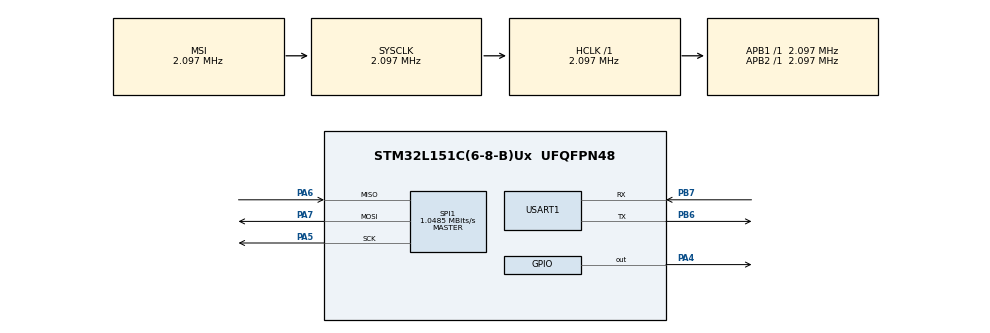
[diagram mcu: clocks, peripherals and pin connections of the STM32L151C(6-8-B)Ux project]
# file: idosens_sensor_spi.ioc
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Mcu.Family=STM32L1
Mcu.Name=STM32L151C(6-8-B)Ux
Mcu.Package=UFQFPN48
NVIC.PriorityGroup=NVIC_PRIORITYGROUP_4
PA4.PinState=GPIO_PIN_SET
PA4.Signal=GPIO_Output
PA5.Mode=Full_Duplex_Master
PA5.Signal=SPI1_SCK
PA6.Mode=Full_Duplex_Master
PA6.Signal=SPI1_MISO
PA7.Mode=Full_Duplex_Master
PA7.Signal=SPI1_MOSI
PB6.Mode=Asynchronous
PB6.Signal=USART1_TX
PB7.Mode=Asynchronous
PB7.Signal=USART1_RX
ProjectManager.HeapSize=0x200
ProjectManager.StackSize=0x400
ProjectManager.TargetToolchain=STM32CubeIDE
RCC.AHBFreq_Value=2097000
RCC.APB1Freq_Value=2097000
RCC.APB2Freq_Value=2097000
RCC.HSE_VALUE=24000000
RCC.HSI_VALUE=16000000
RCC.LSE_VALUE=32768
RCC.MSI_VALUE=2097000
RCC.SYSCLKFreq_VALUE=2097000
RCC.VCOOutputFreq_Value=48000000
SPI1.CalculateBaudRate=1.0485 MBits/s
SPI1.Direction=SPI_DIRECTION_2LINES
SPI1.Mode=SPI_MODE_MASTER
SPI1.VirtualType=VM_MASTER
USART1.VirtualMode=VM_ASYNC
board=custom

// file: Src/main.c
/* USER CODE BEGIN Header */
/**
  ******************************************************************************
  * @file           : main.c
  * @brief          : Main program body
  ******************************************************************************
  * @attention
  *
  * <h2><center>&copy; Copyright (c) 2019 STMicroelectronics.
  * All rights reserved.</center></h2>
  *
  * This software component is licensed by ST under BSD 3-Clause license,
  * the "License"; You may not use this file except in compliance with the
  * License. You may obtain a copy of the License at:
  *                        opensource.org/licenses/BSD-3-Clause
  *
  ******************************************************************************
  */
/* USER CODE END Header */

#include "main.h"
#include <stdio.h>

SPI_HandleTypeDef hspi1;

UART_HandleTypeDef huart1;

void SystemClock_Config(void);
static void MX_GPIO_Init(void);
static void MX_SPI1_Init(void);
static void MX_USART1_UART_Init(void);

int main(void)
{

  /* MCU Configuration--------------------------------------------------------*/

  /* Reset of all peripherals, Initializes the Flash interface and the Systick. */
  HAL_Init();

  /* Configure the system clock */
  SystemClock_Config();

  /* Initialize all configured peripherals */
  MX_GPIO_Init();
  MX_SPI1_Init();
  MX_USART1_UART_Init();

  /* Infinite loop */

  while (1)
  {

	  /* USER CODE BEGIN WHILE */
	  	    uint8_t acc[10]={0,0,0,0,0,0,0,0,0,0};
	        uint8_t octet_read=0;
	        uint8_t data[3];
	  	  	uint8_t data_fifo[2];

	  	    uint8_t fifo_ctrl = 0x2e;//0b101110
	  	    data_fifo[0]=0b01101110; //écrit 1 octet

	  	   	 data_fifo[1]=0;
	  	   	//Configure FIFO, bypass mode p41
			HAL_GPIO_WritePin(GPIOA,GPIO_PIN_4, GPIO_PIN_RESET);
			HAL_SPI_Transmit(&hspi1,data_fifo, 2, HAL_MAX_DELAY);
			HAL_GPIO_WritePin(GPIOA,GPIO_PIN_4, GPIO_PIN_SET);

			data_fifo[1]=64; //(64)10 = stream, (32)10 fifo

			HAL_GPIO_WritePin(GPIOA,GPIO_PIN_4, GPIO_PIN_RESET);
			HAL_SPI_Transmit(&hspi1,data_fifo, 2, HAL_MAX_DELAY);
			HAL_GPIO_WritePin(GPIOA,GPIO_PIN_4, GPIO_PIN_SET);

			//Ecrire (0)10 puis (64)10 dans CTRL0 ; 0b00011111, 0x1f
			uint8_t data_ctrl0[2];
			data_ctrl0[0]=0b01011111;
			data_ctrl0[1]=0;

			HAL_GPIO_WritePin(GPIOA,GPIO_PIN_4, GPIO_PIN_RESET);
			HAL_SPI_Transmit(&hspi1,data_ctrl0, 2, HAL_MAX_DELAY);
			HAL_GPIO_WritePin(GPIOA,GPIO_PIN_4, GPIO_PIN_SET);

			/*
			data_ctrl0[1]=64;

			HAL_GPIO_WritePin(GPIOA,GPIO_PIN_4, GPIO_PIN_RESET);
			HAL_SPI_Transmit(&hspi1,data_ctrl0, 2, HAL_MAX_DELAY);
			HAL_GPIO_WritePin(GPIOA,GPIO_PIN_4, GPIO_PIN_SET);
			*/

			//Config ctrl1 0x20 : Acceleration data-rate 3.125Hz (23)10

			uint8_t tab1[2];
			tab1[0]=0b0100000;
			tab1[1]=23;
			HAL_GPIO_WritePin(GPIOA,GPIO_PIN_4, GPIO_PIN_RESET);
			HAL_SPI_Transmit(&hspi1,tab1, 2, HAL_MAX_DELAY);
			HAL_GPIO_WritePin(GPIOA,GPIO_PIN_4, GPIO_PIN_SET);

			 //Lire 0x20 : 0b00100000
			octet_read=0b10100000;
			HAL_GPIO_WritePin(GPIOA,GPIO_PIN_4, GPIO_PIN_RESET);
			HAL_SPI_Transmit(&hspi1,&octet_read, 1, HAL_MAX_DELAY);
			HAL_SPI_Receive(&hspi1, data, 1, HAL_MAX_DELAY);
			HAL_GPIO_WritePin(GPIOA,GPIO_PIN_4, GPIO_PIN_SET);

			//Lire OUT_X_L_A (28h)
			octet_read=0b10101000;
			HAL_GPIO_WritePin(GPIOA,GPIO_PIN_4, GPIO_PIN_RESET);
			HAL_SPI_Transmit(&hspi1,&octet_read, 1, HAL_MAX_DELAY);
			HAL_SPI_Receive(&hspi1, data, 1, HAL_MAX_DELAY);
			HAL_GPIO_WritePin(GPIOA,GPIO_PIN_4, GPIO_PIN_SET);
			acc[0]=data[0];

			//Lire OUT_X_H_A (29h)
			octet_read=0b10101001;
			HAL_GPIO_WritePin(GPIOA,GPIO_PIN_4, GPIO_PIN_RESET);
			HAL_SPI_Transmit(&hspi1,&octet_read, 1, HAL_MAX_DELAY);
			HAL_SPI_Receive(&hspi1, data, 1, HAL_MAX_DELAY);
			HAL_GPIO_WritePin(GPIOA,GPIO_PIN_4, GPIO_PIN_SET);

			acc[1]=data[0];

			//Lire OUT_Y_L_A (2ah),
			octet_read=0b10101010;
			HAL_GPIO_WritePin(GPIOA,GPIO_PIN_4, GPIO_PIN_RESET);
			HAL_SPI_Transmit(&hspi1,&octet_read, 2, HAL_MAX_DELAY);
			HAL_SPI_Receive(&hspi1, data, 1, HAL_MAX_DELAY);
			HAL_GPIO_WritePin(GPIOA,GPIO_PIN_4, GPIO_PIN_SET);

			acc[2]=data[0];

			//Lire OUT_Y_H_A (2bh),
			octet_read=0b10101011;
			HAL_GPIO_WritePin(GPIOA,GPIO_PIN_4, GPIO_PIN_RESET);
			HAL_SPI_Transmit(&hspi1,&octet_read, 2, HAL_MAX_DELAY);
			HAL_SPI_Receive(&hspi1, data, 1, HAL_MAX_DELAY);
			HAL_GPIO_WritePin(GPIOA,GPIO_PIN_4, GPIO_PIN_SET);

			acc[3]=data[0];

			//Lire OUT_Z_H_A (2Ch)
			octet_read=0b10101100;
			HAL_GPIO_WritePin(GPIOA,GPIO_PIN_4, GPIO_PIN_RESET);
			HAL_SPI_Transmit(&hspi1,&octet_read, 2, HAL_MAX_DELAY);
			HAL_SPI_Receive(&hspi1, data, 1, HAL_MAX_DELAY);
			HAL_GPIO_WritePin(GPIOA,GPIO_PIN_4, GPIO_PIN_SET);
			acc[4]=data[0];

			//Lire OUT_Z_L_A (2dh)
			octet_read=0b10101101;
			HAL_GPIO_WritePin(GPIOA,GPIO_PIN_4, GPIO_PIN_RESET);
			HAL_SPI_Transmit(&hspi1,&octet_read, 2, HAL_MAX_DELAY);
			HAL_SPI_Receive(&hspi1, data, 1, HAL_MAX_DELAY);
			HAL_GPIO_WritePin(GPIOA,GPIO_PIN_4, GPIO_PIN_SET);
			acc[5]=data[0];

			 uint8_t num =65;
			 uint8_t lettres[20];
			 sprintf(lettres,"XL : %d, XH : %d, YL : %d, YH : %d ZL : %d, ZH : %d \n\r",acc[0],acc[1],acc[2], acc[3], acc[4], acc[5]);
			 uint8_t len = strlen(lettres);
			 HAL_UART_Transmit(&huart1, lettres,len , HAL_MAX_DELAY);

	  		 HAL_Delay(1000);

	  	 /* USER CODE END WHILE */
  }
}

void SystemClock_Config(void)
{
  RCC_OscInitTypeDef RCC_OscInitStruct = {0};
  RCC_ClkInitTypeDef RCC_ClkInitStruct = {0};

  /** Configure the main internal regulator output voltage
  */
  __HAL_PWR_VOLTAGESCALING_CONFIG(PWR_REGULATOR_VOLTAGE_SCALE1);
  /** Initializes the CPU, AHB and APB busses clocks
  */
  RCC_OscInitStruct.OscillatorType = RCC_OSCILLATORTYPE_MSI;
  RCC_OscInitStruct.MSIState = RCC_MSI_ON;
  RCC_OscInitStruct.MSICalibrationValue = 0;
  RCC_OscInitStruct.MSIClockRange = RCC_MSIRANGE_5;
  RCC_OscInitStruct.PLL.PLLState = RCC_PLL_NONE;
  if (HAL_RCC_OscConfig(&RCC_OscInitStruct) != HAL_OK)
  {
    Error_Handler();
  }
  /** Initializes the CPU, AHB and APB busses clocks
  */
  RCC_ClkInitStruct.ClockType = RCC_CLOCKTYPE_HCLK|RCC_CLOCKTYPE_SYSCLK
                              |RCC_CLOCKTYPE_PCLK1|RCC_CLOCKTYPE_PCLK2;
  RCC_ClkInitStruct.SYSCLKSource = RCC_SYSCLKSOURCE_MSI;
  RCC_ClkInitStruct.AHBCLKDivider = RCC_SYSCLK_DIV1;
  RCC_ClkInitStruct.APB1CLKDivider = RCC_HCLK_DIV1;
  RCC_ClkInitStruct.APB2CLKDivider = RCC_HCLK_DIV1;

  if (HAL_RCC_ClockConfig(&RCC_ClkInitStruct, FLASH_LATENCY_0) != HAL_OK)
  {
    Error_Handler();
  }
}

static void MX_SPI1_Init(void)
{

  /* SPI1 parameter configuration*/
  hspi1.Instance = SPI1;
  hspi1.Init.Mode = SPI_MODE_MASTER;
  hspi1.Init.Direction = SPI_DIRECTION_2LINES;
  hspi1.Init.DataSize = SPI_DATASIZE_8BIT;
  hspi1.Init.CLKPolarity = SPI_POLARITY_LOW;
  hspi1.Init.CLKPhase = SPI_PHASE_1EDGE;
  hspi1.Init.NSS = SPI_NSS_SOFT;
  hspi1.Init.BaudRatePrescaler = SPI_BAUDRATEPRESCALER_2;
  hspi1.Init.FirstBit = SPI_FIRSTBIT_MSB;
  hspi1.Init.TIMode = SPI_TIMODE_DISABLE;
  hspi1.Init.CRCCalculation = SPI_CRCCALCULATION_DISABLE;
  hspi1.Init.CRCPolynomial = 10;
  if (HAL_SPI_Init(&hspi1) != HAL_OK)
  {
    Error_Handler();
  }

}

static void MX_USART1_UART_Init(void)
{

  huart1.Instance = USART1;
  huart1.Init.BaudRate = 115200;
  huart1.Init.WordLength = UART_WORDLENGTH_8B;
  huart1.Init.StopBits = UART_STOPBITS_1;
  huart1.Init.Parity = UART_PARITY_NONE;
  huart1.Init.Mode = UART_MODE_TX_RX;
  huart1.Init.HwFlowCtl = UART_HWCONTROL_NONE;
  huart1.Init.OverSampling = UART_OVERSAMPLING_16;
  if (HAL_UART_Init(&huart1) != HAL_OK)
  {
    Error_Handler();
  }

}

static void MX_GPIO_Init(void)
{
  GPIO_InitTypeDef GPIO_InitStruct = {0};

  /* GPIO Ports Clock Enable */
  __HAL_RCC_GPIOA_CLK_ENABLE();
  __HAL_RCC_GPIOB_CLK_ENABLE();

  /*Configure GPIO pin Output Level */
  HAL_GPIO_WritePin(GPIOA, GPIO_PIN_4, GPIO_PIN_SET);

  /*Configure GPIO pin : PA4 */
  GPIO_InitStruct.Pin = GPIO_PIN_4;
  GPIO_InitStruct.Mode = GPIO_MODE_OUTPUT_PP;
  GPIO_InitStruct.Pull = GPIO_NOPULL;
  GPIO_InitStruct.Speed = GPIO_SPEED_FREQ_LOW;
  HAL_GPIO_Init(GPIOA, &GPIO_InitStruct);

}

void Error_Handler(void)
{
}

/************************ (C) COPYRIGHT STMicroelectronics *****END OF FILE****/
